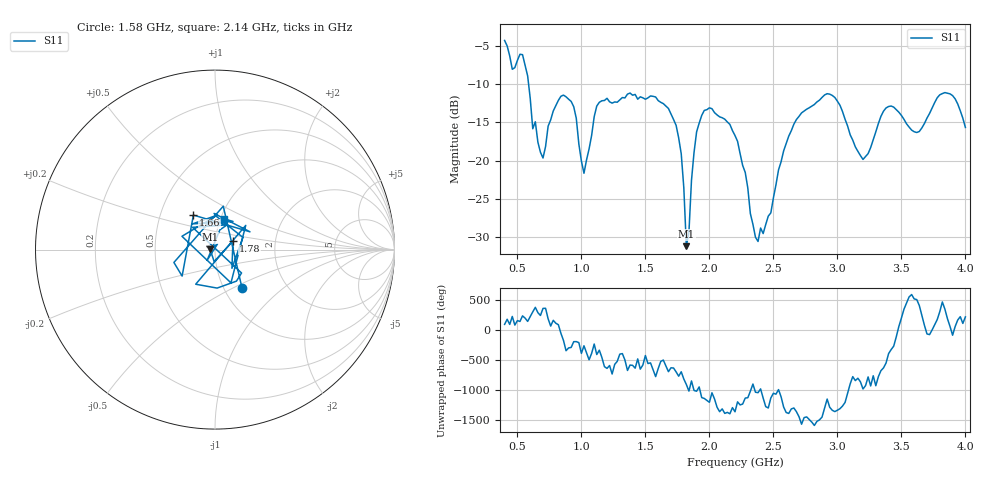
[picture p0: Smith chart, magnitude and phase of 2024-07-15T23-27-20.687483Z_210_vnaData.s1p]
!Created with skrf (http://scikit-rf.org).
# Hz S RI R 50.0
!freq ReS11 ImS11
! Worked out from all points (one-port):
!   181 points, 400 MHz to 4 GHz, reference 50 ohm
!   lowest |S11| = -31.2 dB at 1.82 GHz (marker M1), VSWR 1.06, Z = 47.3 + j0.256 ohm
!   |S11| at or under -10 dB: 587.2 MHz to end of sweep
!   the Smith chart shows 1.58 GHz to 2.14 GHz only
!   S11 on the Smith chart (normalised r, x): 1.58 GHz: 1.22, -0.55; 1.66 GHz: 0.73, +0.30; 1.78 GHz: 1.22, +0.12; 2.14 GHz: 1.04, +0.37
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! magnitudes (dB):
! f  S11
! 400 MHz  -4.3
! 460 MHz  -8.1
! 540 MHz  -6.2
! 620 MHz  -15.8
! 700 MHz  -19.7
! 860 MHz  -11.5
! 940 MHz  -13.0
! 1.02 GHz  -21.7
! 1.12 GHz  -12.9
! 1.3 GHz  -12.1
! 1.58 GHz  -11.7
! 1.66 GHz  -12.9
! 1.76 GHz  -17.0
! 1.78 GHz  -19.1
! 1.82 GHz  -31.2
! 1.88 GHz  -18.9
! 1.92 GHz  -15.1
! 2.14 GHz  -15.0
! 2.2 GHz  -16.7
! 2.38 GHz  -30.6
! 2.66 GHz  -15.2
! 2.94 GHz  -11.3
! 3.1 GHz  -16.6
! 3.2 GHz  -19.9
! 3.38 GHz  -13.1
! 3.56 GHz  -15.6
! 3.84 GHz  -11.1
! 4 GHz  -15.7
